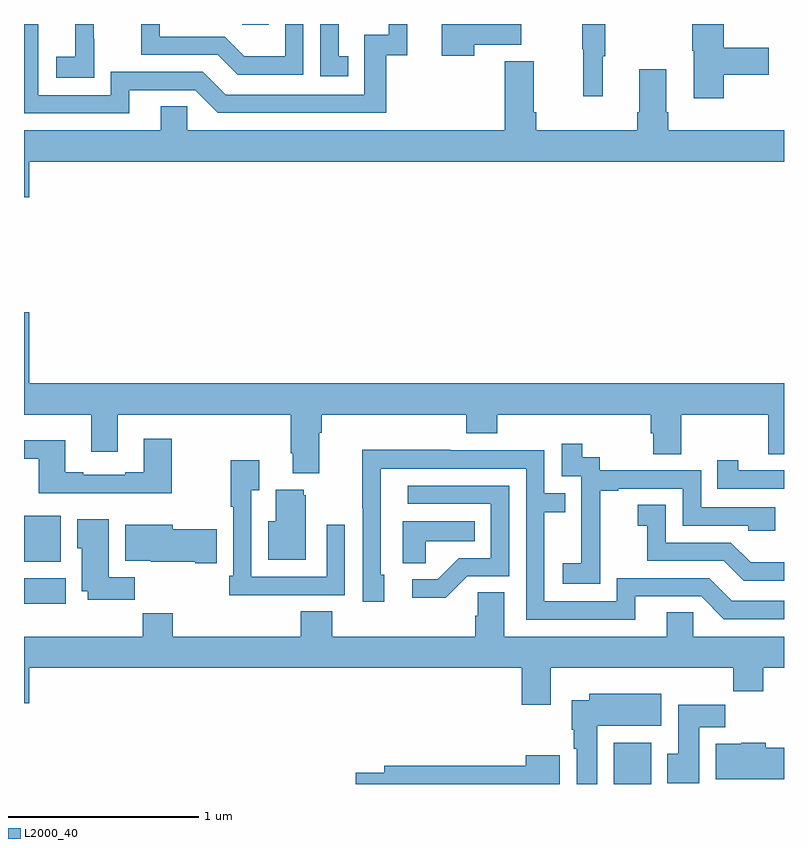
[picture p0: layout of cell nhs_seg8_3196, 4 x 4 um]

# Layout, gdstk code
import gdstk
lib = gdstk.Library(unit=1e-6, precision=1e-09)
def R(c, l, rs):  # rectangles x0, y0, x1, y1
    for r in rs: c.add(gdstk.rectangle(r[:2], r[2:], *l))
def P(c, l, *ps):  # polygons
    for p in ps: c.add(gdstk.Polygon(p, *l))
L2000_40 = (2000, 40)

nhs_seg8_3196 = lib.new_cell('nhs_seg8_3196')
R(nhs_seg8_3196, L2000_40, [(312.104,1103.9,312.301,1104.118), (309,1104.848,309.22,1104.982), (309,1105.07,309.193,1105.312), (310.149,1107.897,310.289,1107.9)])
P(nhs_seg8_3196, L2000_40, [(311.369,1107.791),(311.617,1107.791),(311.617,1107.9),(311.198,1107.9),(311.198,1107.732),(311.369,1107.732)],
  [(312.683,1107.634),(312.919,1107.634),(312.919,1107.776),(312.683,1107.776),(312.683,1107.9),(312.517,1107.9),(312.517,1107.759),(312.524,1107.759),(312.524,1107.51),(312.683,1107.51)],
  [(312.047,1107.731),(312.058,1107.731),(312.058,1107.9),(311.937,1107.9),(311.937,1107.768),(311.944,1107.768),(311.944,1107.519),(312.047,1107.519)],
  [(309.369,1107.823),(309.368,1107.823),(309.368,1107.9),(309.269,1107.9),(309.269,1107.727),(309.171,1107.727),(309.171,1107.617),(309.369,1107.617)],
  [(310.47,1107.9),(310.374,1107.9),(310.374,1107.73),(310.16,1107.73),(310.056,1107.834),(309.714,1107.834),(309.714,1107.9),(309.616,1107.9),(309.616,1107.738),(310.019,1107.738),(310.124,1107.633),(310.47,1107.633)],
  [(310.706,1107.729),(310.657,1107.729),(310.657,1107.9),(310.56,1107.9),(310.56,1107.624),(310.706,1107.624)],
  [(309.553,1107.552),(309.9,1107.552),(310.02,1107.432),(310.907,1107.432),(310.907,1107.735),(311.018,1107.735),(311.018,1107.9),(310.92,1107.9),(310.92,1107.843),(310.791,1107.843),(310.791,1107.528),(310.062,1107.528),(309.942,1107.648),(309.456,1107.648),(309.456,1107.525),(309.075,1107.525),(309.075,1107.9),(309,1107.9),(309,1107.429),(309.553,1107.429)],
  [(309.028,1107.176),(313,1107.176),(313,1107.34),(312.392,1107.34),(312.392,1107.436),(312.379,1107.436),(312.379,1107.661),(312.239,1107.661),(312.239,1107.436),(312.227,1107.436),(312.227,1107.34),(311.696,1107.34),(311.696,1107.436),(311.683,1107.436),(311.683,1107.703),(311.531,1107.703),(311.531,1107.34),(309.858,1107.34),(309.858,1107.467),(309.719,1107.467),(309.719,1107.34),(309,1107.34),(309,1106.988),(309.028,1106.988)],
  [(310.555,1105.748),(310.568,1105.748),(310.568,1105.844),(311.327,1105.844),(311.327,1105.745),(311.492,1105.745),(311.492,1105.844),(312.299,1105.844),(312.299,1105.746),(312.311,1105.746),(312.311,1105.636),(312.459,1105.636),(312.459,1105.844),(312.916,1105.844),(312.916,1105.636),(313,1105.636),(313,1106.008),(309.028,1106.008),(309.028,1106.383),(309,1106.383),(309,1105.844),(309.353,1105.844),(309.353,1105.65),(309.493,1105.65),(309.493,1105.844),(310.403,1105.844),(310.403,1105.642),(310.415,1105.642),(310.415,1105.535),(310.555,1105.535)],
  [(309.777,1105.717),(309.629,1105.717),(309.629,1105.54),(309.533,1105.54),(309.533,1105.527),(309.313,1105.527),(309.313,1105.54),(309.217,1105.54),(309.217,1105.708),(309,1105.708),(309,1105.611),(309.077,1105.611),(309.077,1105.43),(309.777,1105.43)],
  [(312.033,1105.159),(312.032,1105.159),(312.032,1105.443),(312.127,1105.443),(312.127,1105.455),(312.468,1105.455),(312.468,1105.26),(312.813,1105.26),(312.813,1105.233),(312.953,1105.233),(312.953,1105.356),(312.564,1105.356),(312.564,1105.551),(312.03,1105.551),(312.03,1105.62),(311.938,1105.62),(311.938,1105.69),(311.829,1105.69),(311.829,1105.521),(311.934,1105.521),(311.934,1105.292),(311.933,1105.292),(311.933,1105.063),(311.835,1105.063),(311.835,1104.953),(312.033,1104.953)],
  [(312.217,1104.888),(312.564,1104.888),(312.684,1104.768),(313,1104.768),(313,1104.864),(312.726,1104.864),(312.606,1104.984),(312.12,1104.984),(312.12,1104.861),(311.739,1104.861),(311.739,1105.33),(311.849,1105.33),(311.849,1105.431),(311.739,1105.431),(311.739,1105.656),(311.243,1105.656),(311.243,1105.658),(310.78,1105.658),(310.78,1105.351),(310.782,1105.351),(310.782,1104.858),(310.897,1104.858),(310.897,1105.002),(310.878,1105.002),(310.878,1105.56),(311.643,1105.56),(311.643,1104.765),(312.217,1104.765)],
  [(313,1105.551),(312.76,1105.551),(312.76,1105.603),(312.649,1105.603),(312.649,1105.455),(313,1105.455)],
  [(310.373,1104.894),(310.689,1104.894),(310.689,1105.264),(310.593,1105.264),(310.593,1104.99),(310.197,1104.99),(310.197,1105.447),(310.237,1105.447),(310.237,1105.603),(310.089,1105.603),(310.089,1105.358),(310.101,1105.358),(310.101,1104.997),(310.081,1104.997),(310.081,1104.893),(310.373,1104.893)],
  [(311.334,1104.993),(311.553,1104.993),(311.553,1105.47),(311.019,1105.47),(311.019,1105.374),(311.457,1105.374),(311.457,1105.089),(311.288,1105.089),(311.177,1104.978),(311.043,1104.978),(311.043,1104.881),(311.221,1104.881)],
  [(310.483,1105.419),(310.472,1105.419),(310.472,1105.45),(310.325,1105.45),(310.325,1105.282),(310.286,1105.282),(310.286,1105.079),(310.483,1105.079)],
  [(313,1105.066),(312.824,1105.066),(312.72,1105.17),(312.378,1105.17),(312.378,1105.369),(312.231,1105.369),(312.231,1105.259),(312.28,1105.259),(312.28,1105.074),(312.683,1105.074),(312.788,1104.969),(313,1104.969)],
  [(309.584,1104.988),(309.445,1104.988),(309.445,1105.294),(309.281,1105.294),(309.281,1105.14),(309.305,1105.14),(309.305,1104.914),(309.335,1104.914),(309.335,1104.87),(309.584,1104.87)],
  [(311.115,1105.178),(311.372,1105.178),(311.372,1105.282),(310.994,1105.282),(310.994,1105.063),(311.115,1105.063)],
  [(310.015,1105.241),(309.784,1105.241),(309.784,1105.264),(309.533,1105.264),(309.533,1105.076),(309.666,1105.076),(309.666,1105.07),(309.902,1105.07),(309.902,1105.063),(310.015,1105.063)],
  [(311.773,1104.512),(312.733,1104.512),(312.733,1104.388),(312.89,1104.388),(312.89,1104.512),(313,1104.512),(313,1104.676),(312.522,1104.676),(312.522,1104.803),(312.383,1104.803),(312.383,1104.676),(311.527,1104.676),(311.527,1104.908),(311.388,1104.908),(311.388,1104.785),(311.375,1104.785),(311.375,1104.676),(310.622,1104.676),(310.622,1104.809),(310.457,1104.809),(310.457,1104.676),(309.782,1104.676),(309.782,1104.8),(309.625,1104.8),(309.625,1104.676),(309,1104.676),(309,1104.324),(309.028,1104.324),(309.028,1104.512),(311.621,1104.512),(311.621,1104.318),(311.773,1104.318)],
  [(312.016,1104.206),(312.355,1104.206),(312.355,1104.376),(311.975,1104.376),(311.975,1104.34),(311.882,1104.34),(311.882,1104.186),(311.894,1104.186),(311.894,1104.086),(311.909,1104.086),(311.909,1103.9),(312.016,1103.9)],
  [(312.553,1104.2),(312.692,1104.2),(312.692,1104.318),(312.443,1104.318),(312.443,1104.06),(312.386,1104.06),(312.386,1103.904),(312.553,1103.904)],
  [(313,1104.09),(312.905,1104.09),(312.905,1104.118),(312.774,1104.118),(312.774,1104.112),(312.641,1104.112),(312.641,1103.924),(313,1103.924)],
  [(311.821,1104.052),(311.642,1104.052),(311.642,1103.996),(310.895,1103.996),(310.895,1103.96),(310.746,1103.96),(310.746,1103.9),(311.821,1103.9)])

lib.write_gds('nhs_seg8_3196.gds')
